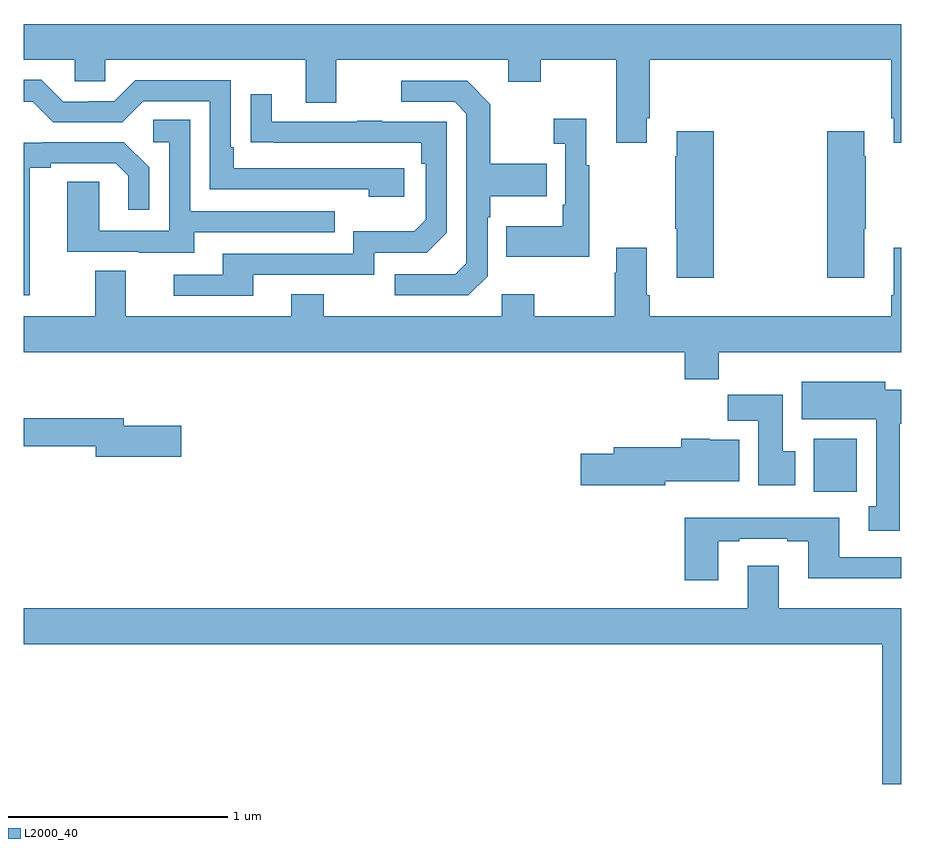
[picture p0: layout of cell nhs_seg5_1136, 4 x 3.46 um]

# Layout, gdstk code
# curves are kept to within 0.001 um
import gdstk
lib = gdstk.Library(unit=1e-6, precision=1e-09)
def R(c, l, rs):  # rectangles x0, y0, x1, y1
    for r in rs: c.add(gdstk.rectangle(r[:2], r[2:], *l))
def P(c, l, *ps):  # polygons
    for p in ps: c.add(gdstk.Polygon(p, *l))
L2000_40 = (2000, 40)

nhs_seg5_1136 = lib.new_cell('nhs_seg5_1136')
R(nhs_seg5_1136, L2000_40, [(184.601,848.132,184.798,848.374)])
P(nhs_seg5_1136, L2000_40, [(183.841,849.835),(183.854,849.835),(183.854,850.1),(184.955,850.1),(184.955,849.835),(184.967,849.835),(184.967,849.723),(185,849.723),(185,850.264),(181,850.264),(181,850.1),(181.233,850.1),(181.233,850.002),(181.371,850.002),(181.371,850.1),(182.285,850.1),(182.285,849.906),(182.425,849.906),(182.425,850.1),(183.209,850.1),(183.209,850.001),(183.357,850.001),(183.357,850.1),(183.701,850.1),(183.701,849.723),(183.841,849.723)],
  [(182.734,849.606),(181.957,849.606),(181.957,849.703),(181.944,849.703),(181.944,850.008),(181.509,850.008),(181.413,849.912),(181.295,849.912),(181.295,849.909),(181.179,849.909),(181.079,850.009),(181,850.009),(181,849.909),(181.041,849.909),(181.134,849.816),(181.449,849.816),(181.545,849.912),(181.848,849.912),(181.848,849.51),(182.573,849.51),(182.573,849.476),(182.734,849.476)],
  [(183.114,849.114),(183.114,849.383),(183.127,849.383),(183.127,849.479),(183.383,849.479),(183.383,849.627),(183.127,849.627),(183.127,849.899),(183.021,850.005),(182.721,850.005),(182.721,849.909),(182.964,849.909),(183.018,849.855),(183.018,849.174),(182.967,849.123),(182.691,849.123),(182.691,849.027),(183.027,849.027)],
  [(182.047,849.12),(182.598,849.12),(182.598,849.222),(182.838,849.222),(182.928,849.312),(182.928,849.819),(182.633,849.819),(182.633,849.824),(182.521,849.824),(182.521,849.819),(182.131,849.819),(182.131,849.943),(182.035,849.943),(182.035,849.724),(182.812,849.723),(182.812,849.626),(182.832,849.626),(182.832,849.372),(182.779,849.319),(182.502,849.319),(182.502,849.216),(181.907,849.216),(181.907,849.12),(181.683,849.12),(181.683,849.024),(182.047,849.024)],
  [(183.577,849.619),(183.565,849.619),(183.565,849.832),(183.417,849.832),(183.417,849.719),(183.468,849.719),(183.468,849.439),(183.456,849.439),(183.456,849.343),(183.199,849.343),(183.199,849.203),(183.577,849.203)],
  [(181.777,849.315),(182.417,849.315),(182.417,849.411),(181.758,849.411),(181.758,849.827),(181.59,849.827),(181.59,849.726),(181.662,849.726),(181.662,849.321),(181.344,849.321),(181.344,849.545),(181.199,849.545),(181.199,849.225),(181.523,849.225),(181.523,849.221),(181.777,849.221)],
  [(184.145,849.775),(183.977,849.775),(183.977,849.662),(183.97,849.662),(183.97,849.331),(183.977,849.331),(183.977,849.108),(184.145,849.108)],
  [(184.831,849.331),(184.839,849.331),(184.839,849.662),(184.831,849.662),(184.831,849.775),(184.664,849.775),(184.664,849.108),(184.831,849.108)],
  [(181.027,849.608),(181.123,849.608),(181.123,849.63),(181.418,849.63),(181.475,849.573),(181.475,849.417),(181.572,849.417),(181.572,849.61),(181.456,849.726),(181.084,849.726),(181.084,849.723),(181,849.723),(181,849.027),(181.027,849.027)],
  [(184.169,848.768),(185,848.768),(185,849.244),(184.967,849.244),(184.967,849.028),(184.955,849.028),(184.955,848.932),(183.854,848.932),(183.854,849.028),(183.841,849.028),(183.841,849.244),(183.701,849.244),(183.701,849.131),(183.694,849.131),(183.694,848.932),(183.327,848.932),(183.327,849.031),(183.18,849.031),(183.18,848.932),(182.367,848.932),(182.367,849.031),(182.219,849.031),(182.219,848.932),(181.465,848.932),(181.465,849.14),(181.325,849.14),(181.325,848.932),(181,848.932),(181,848.768),(184.013,848.768),(184.013,848.644),(184.169,848.644)],
  [(184.993,848.442),(185,848.442),(185,848.596),(184.927,848.596),(184.927,848.632),(184.547,848.632),(184.547,848.462),(184.886,848.462),(184.886,848.066),(184.853,848.066),(184.853,847.953),(184.993,847.953)],
  [(184.516,848.316),(184.459,848.316),(184.459,848.574),(184.21,848.574),(184.21,848.456),(184.349,848.456),(184.349,848.16),(184.516,848.16)],
  [(181.717,848.433),(181.456,848.433),(181.456,848.467),(181,848.467),(181,848.338),(181.328,848.338),(181.328,848.291),(181.717,848.291)],
  [(183.924,848.18),(184.261,848.18),(184.261,848.368),(184.128,848.368),(184.128,848.374),(183.998,848.374),(183.998,848.334),(183.689,848.334),(183.689,848.304),(183.54,848.304),(183.54,848.162),(183.924,848.162)],
  [(184.165,847.905),(184.261,847.905),(184.261,847.917),(184.481,847.917),(184.481,847.905),(184.577,847.905),(184.577,847.736),(185,847.736),(185,847.833),(184.717,847.833),(184.717,848.014),(184.013,848.014),(184.013,847.728),(184.165,847.728)],
  [(185,847.6),(184.441,847.6),(184.441,847.795),(184.301,847.795),(184.301,847.6),(181,847.6),(181,847.436),(184.913,847.436),(184.913,846.799),(185,846.799)])

lib.write_gds('nhs_seg5_1136.gds')
